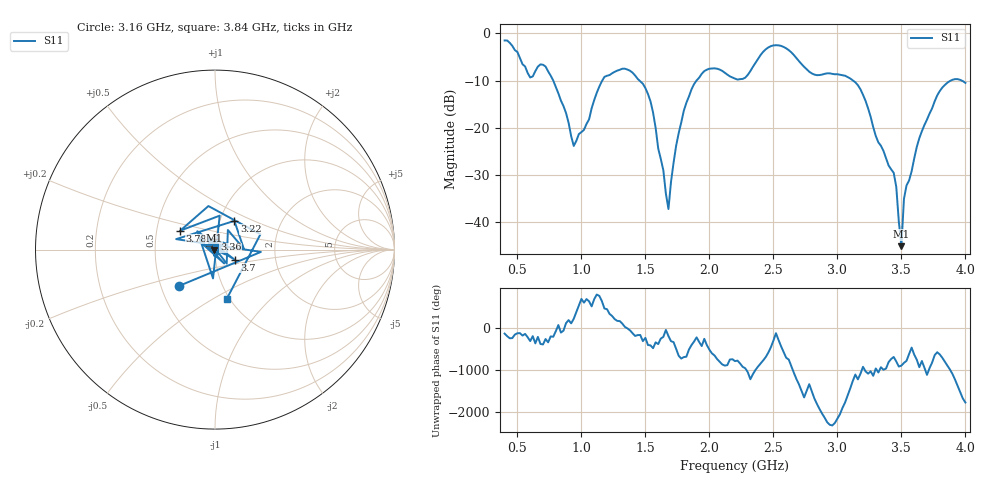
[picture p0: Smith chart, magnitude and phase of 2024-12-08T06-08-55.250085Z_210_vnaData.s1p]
!Created with skrf (http://scikit-rf.org).
# Hz S RI R 50.0
!freq ReS11 ImS11
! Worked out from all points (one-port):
!   181 points, 400 MHz to 4 GHz, reference 50 ohm
!   lowest |S11| = -45.0 dB at 3.5 GHz (marker M1), VSWR 1.01, Z = 49.5 - j0.133 ohm
!   |S11| at or under -10 dB: 780.2 MHz to 1.163 GHz (382.6 MHz wide, 39.4 % of centre); 1.454 GHz to 1.899 GHz (444.7 MHz wide, 26.5 % of centre); 3.123 GHz to 3.886 GHz (763.1 MHz wide, 21.8 % of centre) (the widest 3 of 4)
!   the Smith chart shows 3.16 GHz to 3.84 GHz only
!   S11 on the Smith chart (normalised r, x): 3.16 GHz: 0.62, -0.27; 3.22 GHz: 1.17, +0.39; 3.36 GHz: 0.99, +0.11; 3.7 GHz: 1.24, -0.14; 3.78 GHz: 0.66, +0.15; 3.84 GHz: 0.96, -0.58
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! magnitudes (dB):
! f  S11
! 400 MHz  -1.5
! 600 MHz  -9.3
! 720 MHz  -7.0
! 860 MHz  -15.4
! 940 MHz  -23.8
! 1.18 GHz  -9.2
! 1.3 GHz  -7.7
! 1.52 GHz  -12.8
! 1.68 GHz  -37.2
! 1.76 GHz  -21.1
! 1.86 GHz  -11.9
! 1.96 GHz  -8.0
! 2.2 GHz  -9.6
! 2.48 GHz  -2.7
! 2.66 GHz  -4.6
! 2.82 GHz  -8.7
! 3.1 GHz  -9.5
! 3.16 GHz  -11.0
! 3.22 GHz  -14.3
! 3.36 GHz  -24.9
! 3.44 GHz  -29.5
! 3.5 GHz  -45.0
! 3.52 GHz  -35.0
! 3.56 GHz  -31.1
! 3.7 GHz  -18.2
! 3.78 GHz  -13.1
! 3.84 GHz  -10.9
! 4 GHz  -10.5
